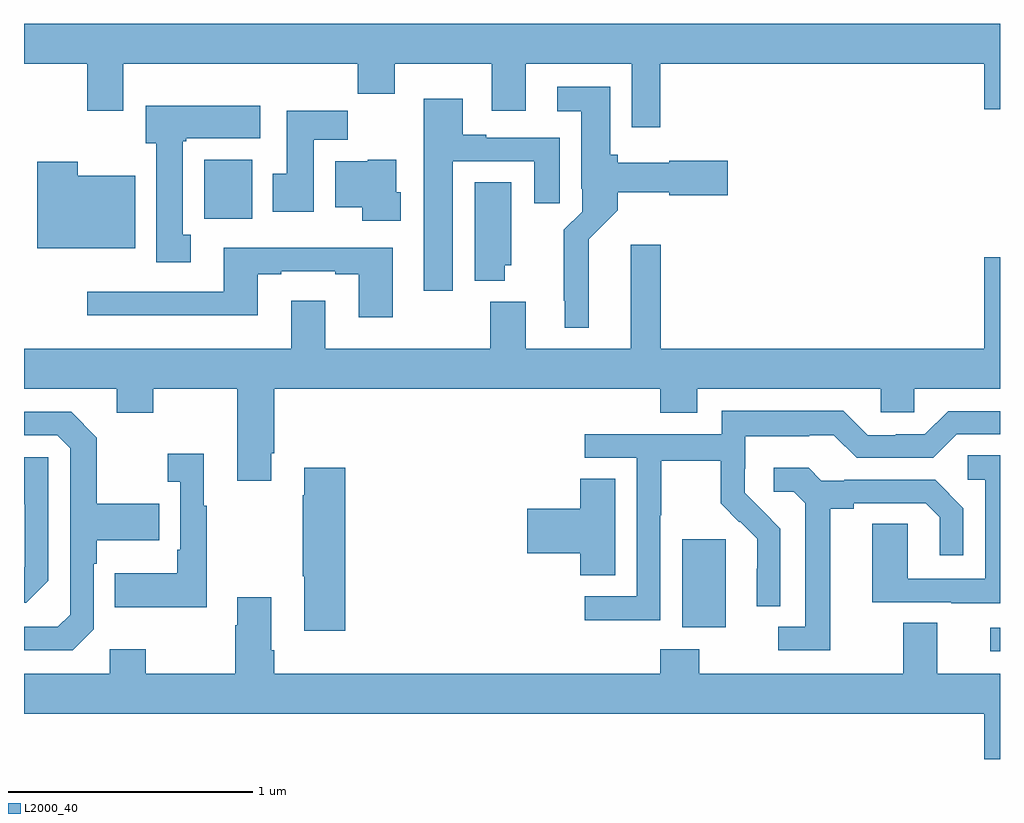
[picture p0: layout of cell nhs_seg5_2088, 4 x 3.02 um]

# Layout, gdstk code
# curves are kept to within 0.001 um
import gdstk
lib = gdstk.Library(unit=1e-6, precision=1e-09)
def R(c, l, rs):  # rectangles x0, y0, x1, y1
    for r in rs: c.add(gdstk.rectangle(r[:2], r[2:], *l))
def P(c, l, *ps):  # polygons
    for p in ps: c.add(gdstk.Polygon(p, *l))
L2000_40 = (2000, 40)

nhs_seg5_2088 = lib.new_cell('nhs_seg5_2088')
R(nhs_seg5_2088, L2000_40, [(236.961,867.672,237,867.768), (235.697,867.77,235.876,868.131), (233.738,869.444,233.935,869.686)])
P(nhs_seg5_2088, L2000_40, [(235.607,870.08),(236.936,870.08),(236.936,869.892),(237,869.892),(237,870.244),(233,870.244),(233,870.08),(233.26,870.08),(233.26,869.886),(233.407,869.886),(233.407,870.08),(234.367,870.08),(234.367,869.956),(234.519,869.956),(234.519,870.08),(234.917,870.08),(234.917,869.886),(235.057,869.886),(235.057,870.08),(235.491,870.08),(235.491,869.82),(235.607,869.82)],
  [(235.315,869.36),(235.433,869.478),(235.433,869.552),(235.644,869.552),(235.644,869.54),(235.885,869.54),(235.885,869.682),(235.644,869.682),(235.644,869.674),(235.433,869.674),(235.433,869.706),(235.402,869.706),(235.402,869.986),(235.185,869.986),(235.185,869.885),(235.283,869.885),(235.283,869.566),(235.287,869.566),(235.287,869.472),(235.213,869.398),(235.213,869.107),(235.217,869.107),(235.217,868.997),(235.315,868.997)],
  [(234.757,869.679),(235.091,869.679),(235.091,869.508),(235.195,869.508),(235.195,869.775),(234.895,869.775),(234.895,869.788),(234.799,869.788),(234.799,869.935),(234.638,869.935),(234.638,869.148),(234.757,869.148)],
  [(233.683,869.378),(233.65,869.378),(233.65,869.761),(233.664,869.761),(233.664,869.774),(233.968,869.774),(233.968,869.908),(233.498,869.908),(233.498,869.754),(233.543,869.754),(233.543,869.265),(233.683,869.265)],
  [(234.187,869.768),(234.326,869.768),(234.326,869.887),(234.077,869.887),(234.077,869.628),(234.02,869.628),(234.02,869.472),(234.187,869.472)],
  [(234.544,869.553),(234.526,869.553),(234.526,869.686),(234.408,869.686),(234.408,869.68),(234.275,869.68),(234.275,869.492),(234.386,869.492),(234.386,869.435),(234.544,869.435)],
  [(233.455,869.62),(233.22,869.62),(233.22,869.677),(233.054,869.677),(233.054,869.324),(233.455,869.324)],
  [(234.97,869.253),(234.997,869.253),(234.997,869.594),(234.848,869.594),(234.848,869.189),(234.97,869.189)],
  [(235.607,868.649),(235.759,868.649),(235.759,868.748),(236.511,868.748),(236.511,868.65),(236.649,868.65),(236.649,868.748),(237,868.748),(237,869.287),(236.936,869.287),(236.936,868.912),(235.61,868.912),(235.61,869.338),(235.487,869.338),(235.487,868.912),(235.057,868.912),(235.057,869.104),(234.91,869.104),(234.91,868.912),(234.235,868.912),(234.235,869.107),(234.095,869.107),(234.095,868.912),(233,868.912),(233,868.748),(233.381,868.748),(233.381,868.649),(233.529,868.649),(233.529,868.748),(233.873,868.748),(233.873,868.371),(234.013,868.371),(234.013,868.483),(234.026,868.483),(234.026,868.748),(235.607,868.748)],
  [(234.511,869.326),(233.819,869.326),(233.819,869.145),(233.259,869.145),(233.259,869.048),(233.959,869.048),(233.959,869.217),(234.055,869.217),(234.055,869.229),(234.275,869.229),(234.275,869.217),(234.371,869.217),(234.371,869.04),(234.511,869.04)],
  [(235.608,868.228),(235.611,868.228),(235.611,868.452),(235.855,868.452),(235.855,868.277),(235.932,868.2),(235.935,868.203),(236.006,868.133),(236.006,868.01),(236.004,868.01),(236.004,867.856),(236.1,867.856),(236.1,868.174),(235.954,868.322),(235.954,868.419),(235.956,868.419),(235.956,868.553),(236.219,868.553),(236.219,868.557),(236.319,868.557),(236.412,868.464),(236.727,868.464),(236.823,868.56),(237,868.56),(237,868.656),(236.787,868.656),(236.691,868.56),(236.573,868.56),(236.573,868.557),(236.457,868.557),(236.357,868.657),(235.86,868.657),(235.86,868.56),(235.299,868.56),(235.299,868.464),(235.512,868.464),(235.512,867.897),(235.299,867.897),(235.299,867.799),(235.608,867.799)],
  [(233.286,867.762),(233.286,868.031),(233.299,868.031),(233.299,868.127),(233.555,868.127),(233.555,868.275),(233.299,868.275),(233.299,868.547),(233.193,868.653),(233,868.653),(233,868.557),(233.136,868.557),(233.19,868.503),(233.19,867.822),(233.139,867.771),(233,867.771),(233,867.675),(233.199,867.675)],
  [(233.749,868.267),(233.737,868.267),(233.737,868.48),(233.589,868.48),(233.589,868.367),(233.64,868.367),(233.64,868.087),(233.628,868.087),(233.628,867.991),(233.371,867.991),(233.371,867.851),(233.749,867.851)],
  [(237,868.475),(236.868,868.475),(236.868,868.374),(236.94,868.374),(236.94,867.969),(236.622,867.969),(236.622,868.193),(236.477,868.193),(236.477,867.873),(236.801,867.873),(236.801,867.869),(237,867.869)],
  [(233.1,867.96),(233.1,868.467),(233,868.467),(233,868.274),(233.004,868.274),(233.004,868.02),(233,868.016),(233,867.87),(233.01,867.87)],
  [(234.317,868.423),(234.149,868.423),(234.149,868.31),(234.142,868.31),(234.142,867.979),(234.149,867.979),(234.149,867.756),(234.317,867.756)],
  [(236.305,868.256),(236.401,868.256),(236.401,868.278),(236.696,868.278),(236.753,868.221),(236.753,868.065),(236.85,868.065),(236.85,868.258),(236.734,868.374),(236.362,868.374),(236.362,868.371),(236.268,868.371),(236.216,868.423),(236.073,868.423),(236.073,868.326),(236.154,868.326),(236.201,868.279),(236.201,867.771),(236.091,867.771),(236.091,867.675),(236.305,867.675)],
  [(235.423,868.379),(235.28,868.379),(235.28,868.256),(235.062,868.256),(235.062,868.073),(235.28,868.073),(235.28,867.982),(235.423,867.982)],
  [(236.936,867.228),(237,867.228),(237,867.58),(236.743,867.58),(236.743,867.788),(236.603,867.788),(236.603,867.58),(235.767,867.58),(235.767,867.679),(235.607,867.679),(235.607,867.58),(234.026,867.58),(234.026,867.676),(234.013,867.676),(234.013,867.892),(233.873,867.892),(233.873,867.779),(233.866,867.779),(233.866,867.58),(233.499,867.58),(233.499,867.679),(233.352,867.679),(233.352,867.58),(233,867.58),(233,867.416),(236.936,867.416)])

lib.write_gds('nhs_seg5_2088.gds')
